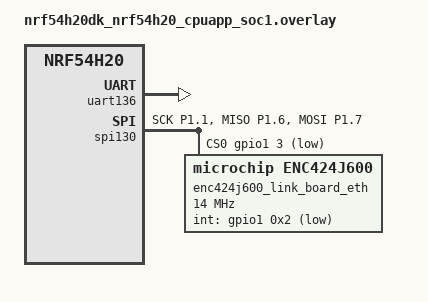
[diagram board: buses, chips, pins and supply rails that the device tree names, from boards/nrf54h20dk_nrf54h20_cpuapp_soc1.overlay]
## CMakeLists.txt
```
#
# Copyright (c) 2023 Nordic Semiconductor ASA
#
# SPDX-License-Identifier: LicenseRef-Nordic-5-Clause
#

cmake_minimum_required(VERSION 3.20.0)

if (BACKBONE_WIFI)
	set(EXTRA_CONF_FILE "configuration/nrf7002eb.conf")
	set(EXTRA_DTC_OVERLAY_FILE "configuration/nrf7002eb.overlay")
endif()

find_package(Zephyr REQUIRED HINTS $ENV{ZEPHYR_BASE})
project(thread_border_router)

set(OPENTHREAD_DIR ${PROJECT_SOURCE_DIR}/../../../modules/lib/openthread)

target_include_directories(app PRIVATE
	src
	${ZEPHYR_BASE}/subsys/net/ip
	${OPENTHREAD_DIR}/src/core
)

# These configurations are required in order to inject our own implementation of
# OpenThread's API function `otIp6Send()`
zephyr_ld_options("-Wl,--wrap=otIp6Send")
set (CMAKE_CXX_FLAGS
	"-DOPENTHREAD_PROJECT_CORE_CONFIG_FILE=\\\"openthread-core-zephyr-config.h\\\""
	${CMAKE_CXX_FLAGS})

add_subdirectory(src/net)

target_sources(app PRIVATE
	src/border_agent.c
	src/main.c
	src/mdns_publisher.c
	src/tbr.c
	src/shell.c
	src/api_extensions/ip6_ext.cpp
	src/backbone/mcast_routing.c
	src/backbone/backbone_agent.c
	src/backbone/nd_proxy.c
	src/platform/infra_if.c
	src/platform/udp.c
	src/utils/utils.c
)
```

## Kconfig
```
#
# Copyright (c) 2023 Nordic Semiconductor
#
# SPDX-License-Identifier: LicenseRef-Nordic-5-Clause
#

DT_COMPAT_NORDIC_NRF700X_SPI := nordic,nrf700x-spi

menuconfig NRF_TBR
    bool "nRF Thread Border Router"
    imply NEWLIB_LIBC_NANO
    imply ENTROPY_GENERATOR
    imply NETWORKING
    imply NET_IPV6
    imply NET_IPV4
    imply NET_UDP
    imply NET_TCP
    imply NET_IPV6_NBR_CACHE
    imply NET_IPV6_DAD
    imply NET_ROUTING
    imply NET_DHCPV4
    imply NET_DHCPV6
    imply NET_SOCKETS
    imply NET_IPV6_MLD
    imply NET_IPV6_ND
    imply NET_IPV6_NBR_CACHE
    imply DNS_SD
    imply NET_IPV4_IGMP
    imply NET_PKT_FILTER # This should be removed after next upmerge
    imply NET_PKT_FILTER_IPV6_HOOK # This should be removed after next upmerge

menu "nRF Thread Border Router"

if NRF_TBR

config NRF_TBR_MDNS_PUBLISHER_RECORDS
    int "mDNS records"
    default 8
    help
      Number of mDNS records that can be allocated in runtime

config NRF_TBR_NRF_TBR_MDNS_PUBLISHER_MAX_TXT_LEN
    int "Max TXT record length"
    default 256
    help
      Maximum length of TXT record

config NRF_TBR_PRODUCT_NAME
    string "Product"
    default "tbr"
    help
      Defines the name of a product advertised by Thread Border Agent

config NRF_TBR_VENDOR_NAME
    string "Vendor"
    default "nordicsemi"
    help
      Defines the name of a vendor advertised by Thread Border Agent

config NRF_TBR_NAT64_PREFIX_DISCOVERY
    bool "Enable NAT64 prefix discovery"
    depends on OPENTHREAD_BORDER_ROUTER && OPENTHREAD_NAT64_BORDER_ROUTING
    help
      Enable NAT64 prefix discovery for nRF TBR

config NRF_TBR_MAX_UDP_DGRAM_SIZE
    int "UDP datagrams size limit"
    default 1280
    help
      Maximum size of UDP datagrams that can be sent using OpenThread's API

config NRF_TBR_ND_PROXY_ENTRY_COUNT
    int "ND Proxy table entries"
    default 8
    help
      Maximum number of addresses that can be handled by ND Proxy module

source "${ZEPHYR_BASE}/../nrf/applications/thread_border_router/Kconfig.defaults"

menu "Zephyr Kernel"
source "Kconfig.zephyr"
endmenu

module = NRF_TBR
module-str = nRF TBR
module-dep = LOG
module-help = Enables nRF TBR log messages.
source "${ZEPHYR_BASE}/subsys/logging/Kconfig.template.log_config"

rsource "src/net/Kconfig"

endif #NRF_TBR

endmenu
```

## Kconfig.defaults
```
#
# Copyright (c) 2023 Nordic Semiconductor ASA
#
# SPDX-License-Identifier: LicenseRef-Nordic-5-Clause
#

config NEWLIB_LIBC_NANO
    default n

config NET_L2_OPENTHREAD
    default y

config IEEE802154_NRF5_RX_STACK_SIZE
    default 1024

config NET_L2_ETHERNET
    default y

config OPENTHREAD_BORDER_ROUTER
    default y

config DNS_RESOLVER
    default n

config INIT_STACKS
    default y

config MAIN_STACK_SIZE
    default 4096

config SYSTEM_WORKQUEUE_STACK_SIZE
    default 2560

config DEVICE_SHELL
    default n

config DATE_SHELL
    default n

config GPIO_SHELL
    default n

config OPENTHREAD_BORDER_ROUTING
    default y

config OPENTHREAD_BACKBONE_ROUTER_MULTICAST_ROUTING
    default y

config OPENTHREAD_NETDATA_PUBLISHER
    default y

config OPENTHREAD_BORDER_AGENT
    default y

config OPENTHREAD_SLAAC
    default y

config OPENTHREAD_BACKBONE_ROUTER
    default y

config OPENTHREAD_ENABLE_SERVICE
    default y

config OPENTHREAD_BORDER_ROUTING_COUNTERS
    default y

config OPENTHREAD_DNS_CLIENT
    default y

config OPENTHREAD_MLR
    default y

config OPENTHREAD_PLATFORM_UDP
    default y

config OPENTHREAD_MESSAGE_BUFFER_SIZE
    default 256

config OPENTHREAD_DUA
    default y

config OPENTHREAD_BACKBONE_ROUTER_DUA_NDPROXYING
    default y

config OPENTHREAD_NAT64_TRANSLATOR
    default y

config OPENTHREAD_NAT64_BORDER_ROUTING
    default y

config OPENTHREAD_TCP_ENABLE
    default y

config OPENTHREAD_COAP
    default y

config OPENTHREAD_COAPS
    default y

config OPENTHREAD_COMMISSIONER
    default y

config OPENTHREAD_DIAG
    default y

config OPENTHREAD_DHCP6_SERVER
    default y

config OPENTHREAD_DHCP6_CLIENT
    default y

config OPENTHREAD_ECDSA
    default y

config OPENTHREAD_IP6_FRAGM
    default y

config OPENTHREAD_JAM_DETECTION
    default y

config OPENTHREAD_JOINER
    default y

config OPENTHREAD_RAW
    default y

config OPENTHREAD_MAC_FILTER
    default y

config OPENTHREAD_NETDIAG_CLIENT
    default y

config OPENTHREAD_ENABLE_SERVICE
    default y

config OPENTHREAD_SNTP_CLIENT
    default y

config OPENTHREAD_SRP_CLIENT
    default y

config OPENTHREAD_LINK_METRICS_INITIATOR
    default y

config OPENTHREAD_LINK_METRICS_SUBJECT
    default y

config OPENTHREAD_EXTERNAL_HEAP
    default y

config NRF_TBR_NAT64_PREFIX_DISCOVERY
    default y

config NRF_TBR_ROUTE_IPV4
    default y

config NRF_TBR_NAT
    default y

config NET_IPV4_IGMP
    default n

config NRF7002_ON_SPI
    def_bool $(dt_compat_enabled,$(DT_COMPAT_NORDIC_NRF700X_SPI))
    depends on WIFI_NRF700X

config NRF_WIFI_LOW_POWER
    default n
```

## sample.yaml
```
sample:
  name: nRF Thread Border Router
  description: nRF Thread Border Router application
tests:
  applications.thread_border_router.debug:
    build_only: true
    integration_platforms:
      - nrf54h20dk_nrf54h20_cpuapp@soc1
    platform_allow: nrf54h20dk_nrf54h20_cpuapp@soc1
    tags: nRF_TBR TBR_app
  applications.thread_border_router.release:
    build_only: true
    extra_args: CONF_FILE=prj_release.conf
    integration_platforms:
      - nrf54h20dk_nrf54h20_cpuapp@soc1
    platform_allow: nrf54h20dk_nrf54h20_cpuapp@soc1
    tags: nRF_TBR TBR_app
  applications.thread_border_router.release.wifi:
    build_only: true
    extra_args: CONF_FILE=prj_release.conf BACKBONE_WIFI=1
    integration_platforms:
      - nrf54h20dk_nrf54h20_cpuapp@soc1
    platform_allow: nrf54h20dk_nrf54h20_cpuapp@soc1
    tags: nRF_TBR TBR_app TBR_app_wifi
  applications.thread_border_router.debug.wifi:
    build_only: true
    extra_args: BACKBONE_WIFI=1
    integration_platforms:
      - nrf54h20dk_nrf54h20_cpuapp@soc1
    platform_allow: nrf54h20dk_nrf54h20_cpuapp@soc1
    tags: nRF_TBR TBR_app TBR_app_wifi
  applications.thread_border_router.release.wifi.static_cred:
    build_only: true
    extra_args: CONF_FILE=prj_release.conf OVERLAY_CONFIG=overlay-static_credentials.conf BACKBONE_WIFI=1
    integration_platforms:
      - nrf54h20dk_nrf54h20_cpuapp@soc1
    platform_allow: nrf54h20dk_nrf54h20_cpuapp@soc1
    tags: nRF_TBR TBR_app TBR_app_wifi static_credentials
  applications.thread_border_router.debug.wifi.static_cred:
    build_only: true
    extra_args: OVERLAY_CONFIG=overlay-static_credentials.conf BACKBONE_WIFI=1
    integration_platforms:
      - nrf54h20dk_nrf54h20_cpuapp@soc1
    platform_allow: nrf54h20dk_nrf54h20_cpuapp@soc1
    tags: nRF_TBR TBR_app TBR_app_wifi static_credentials
```

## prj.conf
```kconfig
#
# Copyright (c) 2023 Nordic Semiconductor ASA
#
# SPDX-License-Identifier: LicenseRef-Nordic-5-Clause
#

CONFIG_NRF_TBR=y

# System settings
CONFIG_FPU=n

# Networking
CONFIG_NET_CONFIG_SETTINGS=y
CONFIG_NET_CONFIG_MY_IPV4_ADDR="192.0.2.1"
CONFIG_NET_CONFIG_MY_IPV6_ADDR="2001:db8::1"
CONFIG_NET_CONFIG_PEER_IPV6_ADDR="2001:db8::2"
CONFIG_NET_IF_MAX_IPV4_COUNT=4
CONFIG_NET_IF_MCAST_IPV4_ADDR_COUNT=4
CONFIG_NET_IF_MAX_IPV6_COUNT=16
CONFIG_NET_IF_IPV6_PREFIX_COUNT=6
CONFIG_NET_IF_UNICAST_IPV6_ADDR_COUNT=7
CONFIG_NET_IF_MCAST_IPV6_ADDR_COUNT=16
CONFIG_NET_MGMT_EVENT_QUEUE_SIZE=16
CONFIG_NET_DEFAULT_IF_ETHERNET=y
CONFIG_NET_MGMT_EVENT_INFO=y
CONFIG_NET_CONFIG_AUTO_INIT=n
CONFIG_NET_ROUTE_MCAST=y
CONFIG_NET_MAX_MCAST_ROUTES=8
CONFIG_NET_MAX_CONTEXTS=10

# Memories
CONFIG_NET_TX_STACK_SIZE=4096
CONFIG_NET_RX_STACK_SIZE=4096

# Debugging
CONFIG_DEBUG=y
CONFIG_STACK_SENTINEL=y
CONFIG_DEBUG_COREDUMP=y
CONFIG_DEBUG_COREDUMP_BACKEND_LOGGING=y
CONFIG_DEBUG_COREDUMP_MEMORY_DUMP_MIN=y

# Enable asserts
CONFIG_ASSERT=y
CONFIG_ASSERT_NO_COND_INFO=y
CONFIG_ASSERT_NO_FILE_INFO=y

# Logging
CONFIG_LOG=y
CONFIG_NET_LOG=y
CONFIG_LOG_BUFFER_SIZE=4048
CONFIG_LOG_MODE_MINIMAL=n
CONFIG_LOG_MODE_DEFERRED=y
CONFIG_OPENTHREAD_L2_LOG_LEVEL_DBG=y
CONFIG_NRF_TBR_LOG_LEVEL_DBG=y
CONFIG_DNS_SD_LOG_LEVEL_ERR=y # DNS-SD provides a lot false positive warnings

# Shells
CONFIG_SHELL=y
CONFIG_NET_SHELL=y
CONFIG_OPENTHREAD_SHELL=y
CONFIG_SHELL_CMDS_RESIZE=n
CONFIG_SHELL_TAB_AUTOCOMPLETION=n

CONFIG_SIZE_OPTIMIZATIONS=y
```

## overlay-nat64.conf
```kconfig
#
# Copyright (c) 2023 Nordic Semiconductor ASA
#
# SPDX-License-Identifier: LicenseRef-Nordic-5-Clause
#

CONFIG_NRF_TBR_ROUTE_IPV4=y
CONFIG_OPENTHREAD_NAT64_TRANSLATOR=y
CONFIG_OPENTHREAD_NAT64_BORDER_ROUTING=y
CONFIG_NRF_TBR_NAT=y

# Enable TCP
CONFIG_OPENTHREAD_TCP_ENABLE=y
CONFIG_NET_TCP=y

CONFIG_NRF_TBR_NAT_LOG_LEVEL_DBG=y
```

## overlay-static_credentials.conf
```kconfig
#
# Copyright (c) 2023 Nordic Semiconductor ASA
#
# SPDX-License-Identifier: LicenseRef-Nordic-5-Clause
#

CONFIG_WIFI_CREDENTIALS_BACKEND_SETTINGS=n
CONFIG_WIFI_CREDENTIALS_SHELL=n
CONFIG_WIFI_CREDENTIALS_SHELL_AUTOCONNECT=n

# Static WiFi credential configuration
CONFIG_WIFI_CREDENTIALS_STATIC=y
CONFIG_WIFI_CREDENTIALS_STATIC_SSID="<ssid>"
CONFIG_WIFI_CREDENTIALS_STATIC_PASSWORD="<password>"
```

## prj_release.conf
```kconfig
#
# Copyright (c) 2023 Nordic Semiconductor ASA
#
# SPDX-License-Identifier: LicenseRef-Nordic-5-Clause
#

CONFIG_NRF_TBR=y

# System settings
CONFIG_FPU=n

# Networking
CONFIG_NET_CONFIG_SETTINGS=y
CONFIG_NET_CONFIG_MY_IPV4_ADDR="192.0.2.1"
CONFIG_NET_CONFIG_MY_IPV6_ADDR="2001:db8::1"
CONFIG_NET_CONFIG_PEER_IPV6_ADDR="2001:db8::2"
CONFIG_NET_IF_MAX_IPV4_COUNT=4
CONFIG_NET_IF_MCAST_IPV4_ADDR_COUNT=0
CONFIG_NET_IF_MAX_IPV6_COUNT=16
CONFIG_NET_IF_IPV6_PREFIX_COUNT=6
CONFIG_NET_IF_UNICAST_IPV6_ADDR_COUNT=7
CONFIG_NET_IF_MCAST_IPV6_ADDR_COUNT=16
CONFIG_NET_MGMT_EVENT_QUEUE_SIZE=16
CONFIG_NET_DEFAULT_IF_ETHERNET=y
CONFIG_NET_MGMT_EVENT_INFO=y
CONFIG_NET_CONFIG_AUTO_INIT=n
CONFIG_NET_ROUTE_MCAST=y
CONFIG_NET_MAX_MCAST_ROUTES=8
CONFIG_NET_MAX_CONTEXTS=10

# Memories
CONFIG_NET_TX_STACK_SIZE=4096
CONFIG_NET_RX_STACK_SIZE=4096
# WiFi only
CONFIG_NET_TC_TX_COUNT=1

# Debugging
CONFIG_DEBUG=n

# Enable asserts
CONFIG_ASSERT=y
CONFIG_ASSERT_VERBOSE=n
CONFIG_ASSERT_NO_COND_INFO=y
CONFIG_ASSERT_NO_FILE_INFO=y

# Logging
CONFIG_LOG=n

# Shells
CONFIG_SHELL=y
CONFIG_SHELL_MINIMAL=y
CONFIG_OPENTHREAD_SHELL=y
CONFIG_SHELL_CMDS_RESIZE=n
CONFIG_SHELL_TAB_AUTOCOMPLETION=n
```

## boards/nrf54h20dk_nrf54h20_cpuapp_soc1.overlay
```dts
/*
 * Copyright (c) 2023 Nordic Semiconductor ASA
 *
 * SPDX-License-Identifier: LicenseRef-Nordic-5-Clause
 */
#include <zephyr/dt-bindings/ipc_service/static_vrings.h>
#include <arm/nordic_nrf_next/overlays/serial_cpuapp.overlay>

/{
	chosen {
		zephyr,console = &uart136;
		zephyr,shell-uart = &uart136;
	};
};

/delete-node/ &ppr_code_partition;

&mram0 {
    reg = <0xe0a6000 DT_SIZE_K(1092)>;
    partitions {
        compatible = "fixed-partitions";
        #address-cells = < 0x1 >;
        #size-cells = < 0x1 >;
        slot0_partition: partition@a6000 {
            label = "image-0";
            reg = < 0xa6000 DT_SIZE_K(1092) >;
        };
    };
};

&cpuapp_ram0x_s {
	reg = < 0x0 DT_SIZE_K(512) >;
	ranges = < 0x0 0x0 DT_SIZE_K(512) >;
};

/* Remove the dfu_partition */
/delete-node/ &mram1;
&mram_controller {
	mram1: mram@e1df000 {
		compatible = "nordic,allocatable-mram", "soc-nv-flash";
		reg = <0xe1df000 DT_SIZE_K(24)>;
		erase-block-size = <4096>;
		write-block-size = <1>;
		perm-read;
		perm-write;
		partitions {
			compatible = "fixed-partitions";
			#address-cells = <1>;
			#size-cells = <1>;
			storage_partition: partition@1df000 {
				label = "storage";
				reg = <0x1df000 DT_SIZE_K(24)>;
			};
		};
	};
};

/* ram3x_cpuapp buffer is used by App core UART driver. */
&ram3x_cpuapp {
	status = "okay";
};

&cpuapp_sram0x {
	reg = <0x1000 DT_SIZE_K(512)>;
};

&uart136 {
	status = "okay";
	memory-regions = <&ram3x_cpuapp>;
};

&pinctrl {
	spi130_default: spi130_default {
		group1 {
			psels = <NRF_PSEL(SPIM_SCK, 1, 1)>,
			        <NRF_PSEL(SPIM_MISO, 1, 6)>,
			        <NRF_PSEL(SPIM_MOSI, 1, 7)>;
		};
	};

	spi130_sleep: spi130_sleep {
		group1 {
			psels = <NRF_PSEL(SPIM_SCK, 1, 1)>,
			        <NRF_PSEL(SPIM_MISO, 1, 6)>,
			        <NRF_PSEL(SPIM_MOSI, 1, 7)>;
			low-power-enable;
		};
	};
};

&spi130 {
	cs-gpios = <&gpio1 3 GPIO_ACTIVE_LOW>;
	status = "okay";
	pinctrl-0 = <&spi130_default>;
	pinctrl-1 = <&spi130_sleep>;
	pinctrl-names = "default", "sleep";
	memory-regions = <&ram3x_cpuapp>;

	enc424j600_link_board_eth: enc424j600@0 {
		compatible = "microchip,enc424j600";
		spi-max-frequency = < 0xd59f80 >;
		int-gpios = < &gpio1 0x2 0x1 >;
		status = "okay";
		reg = < 0x0 >;
	};
};

&gpio1 {
	status = "okay";
};

ipc0: &ipc_cpurad {};
```

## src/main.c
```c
/*
 * Copyright (c) 2023 Nordic Semiconductor ASA
 *
 * SPDX-License-Identifier: LicenseRef-Nordic-5-Clause
 */

/** @file
 * @brief nRF Thread Border Router's main function
 */

#include "border_agent.h"
#include "tbr.h"
#include "backbone/backbone_agent.h"
#include "platform/infra_if.h"
#include "net/mdns_server.h"

#include <ipv6.h>

#include <openthread/border_routing.h>
#include <openthread/backbone_router_ftd.h>
#include <openthread/thread.h>
#include <openthread/platform/infra_if.h>

#include <zephyr/sys/printk.h>
#include <zephyr/device.h>
#include <zephyr/net/net_config.h>
#include <zephyr/net/net_pkt_filter.h>
#include <zephyr/net/openthread.h>

#if defined(CONFIG_WIFI_NRF700X)
#include <zephyr/net/wifi_mgmt.h>
#include <net/wifi_mgmt_ext.h>
#endif /* CONFIG_WIFI_NRF700X */

LOG_MODULE_REGISTER(nrf_tbr, CONFIG_NRF_TBR_LOG_LEVEL);

#define WIFI_MGMT_EVENTS (NET_EVENT_WIFI_CONNECT_RESULT)

#define MAC_IPV6_MCAST_BYTE0 0x33
#define MAC_IPV6_MCAST_BYTE1 0x33

K_SEM_DEFINE(ll_addr_wait, 0, 1);
K_SEM_DEFINE(run_app, 0, 1);

static struct net_mgmt_event_callback net_event_cb;
static struct tbr_context *context;

#if defined(CONFIG_WIFI_NRF700X)
static struct net_mgmt_event_callback wifi_mgmt_cb;

struct ipv6_input_test {
	struct npf_test test;
};

static bool filter_mcast_loopback(struct npf_test *test, struct net_pkt *pkt);

struct ipv6_input_test mcast_loopback_test = {
	.test.fn = filter_mcast_loopback,
};

static NPF_RULE(filter_mcast_loopback_rule, NET_OK, mcast_loopback_test);

static inline bool is_mac_addr_ipv6_mcast(struct net_eth_addr *address)
{
	return address->addr[0] == MAC_IPV6_MCAST_BYTE0 && address->addr[1] == MAC_IPV6_MCAST_BYTE1;
}

static void handle_wifi_connect_result(struct net_mgmt_event_callback *cb)
{
	const struct wifi_status *status =
		(const struct wifi_status *) cb->info;

	if (status->status) {
		LOG_ERR("Backbone link connection request failed (%d)", status->status);
	} else {
		LOG_INF("Backbone link connected");
		k_sem_give(&run_app);
	}
}

static void wifi_mgmt_event_handler(struct net_mgmt_event_callback *cb,
				    uint32_t mgmt_event, struct net_if *iface)
{
	ARG_UNUSED(iface);

	switch (mgmt_event) {
	case NET_EVENT_WIFI_CONNECT_RESULT:
		handle_wifi_connect_result(cb);
		break;
	default:
		break;
	}
}

static bool filter_mcast_loopback(struct npf_test *test, struct net_pkt *pkt)
{
	ARG_UNUSED(test);

	struct net_eth_hdr *hdr;
	struct net_linkaddr *backbone_mac_addr;

	if (!context->backbone_iface || pkt->iface != context->backbone_iface) {
		return true;
	}

	hdr = NET_ETH_HDR(pkt);
	if (!hdr) {
		LOG_WRN("Multicast loopback filter - failed to read the header");
		return false;
	}

	backbone_mac_addr = net_if_get_link_addr(context->backbone_iface);

	/* Eliminate a multicast loop by filtering out frames with a source MAC addresses
	 * within IPv6 multicast range sent back by the backbone interface (with its
	 * source address).
	 */
	return !is_mac_addr_ipv6_mcast(&hdr->dst) || memcmp(backbone_mac_addr->addr, &hdr->src,
							    sizeof(hdr->src));
}

#endif /* defined(CONFIG_WIFI_NRF700X) */

static void net_ev_cb_handler(struct net_mgmt_event_callback *cb,
			      uint32_t mgmt_event, struct net_if *iface)
{
	if (context->backbone_iface == iface) {
		struct in6_addr *addr = net_if_ipv6_get_ll(iface, NET_ADDR_PREFERRED);

		if (addr) {
			LOG_DBG("IPv6 Link-Local address ready");
			context->ll_addr = addr;
			k_sem_give(&ll_addr_wait);
		}
	}
}

static bool join_all_routers_group(struct net_if *iface)
{
	struct in6_addr all_routers_addr;
	int ret;

	k_sem_take(&ll_addr_wait, K_FOREVER);
	net_mgmt_del_event_callback(&net_event_cb);

	net_ipv6_addr_create_ll_allrouters_mcast(&all_routers_addr);

	ret = net_ipv6_mld_join(iface, &all_routers_addr);
	if (ret < 0 && ret != -EALREADY) {
		LOG_ERR("Cannot join all-routers group (%d)", ret);
		return false;
	}

	return true;
}

static int init_backbone_iface(void)
{
	const struct device *backbone_device;

#if defined(CONFIG_WIFI_NRF700X)

	/* Wait for WiFi connection */
	net_mgmt_init_event_callback(&wifi_mgmt_cb,
				     wifi_mgmt_event_handler,
				     WIFI_MGMT_EVENTS);
	net_mgmt_add_event_callback(&wifi_mgmt_cb);

	npf_insert_recv_rule(&filter_mcast_loopback_rule);

	backbone_device = device_get_binding("wlan0");

#else
	backbone_device = DEVICE_DT_GET(DT_NODELABEL(enc424j600_link_board_eth));
	k_sem_give(&run_app);
#endif

	if (!device_is_ready(backbone_device)) {
		LOG_ERR("Backbone device not ready.");
		return EXIT_FAILURE;
	}

	LOG_INF("Backbone link device: %s", backbone_device->name);
	context->backbone_iface = net_if_lookup_by_dev(backbone_device);

	if (!context->backbone_iface) {
		LOG_ERR("No backbone interface");
		return EXIT_FAILURE;
	}

	net_config_init_app(net_if_get_device(context->backbone_iface),
			    "Initializing backbone interface");

	return EXIT_SUCCESS;
}

static int init_application(void)
{
#ifdef CLOCK_FEATURE_HFCLK_DIVIDE_PRESENT
	/* For now hardcode to 128MHz */
	nrfx_clock_divider_set(NRF_CLOCK_DOMAIN_HFCLK,
			       NRF_CLOCK_HFCLK_DIV_1);
#endif

	context = tbr_get_context();
	context->ll_addr = NULL;
	context->ot = openthread_get_default_context();

	infra_if_init();
	mdns_server_init();
	backbone_agent_init();

	net_mgmt_init_event_callback(&net_event_cb,
				     net_ev_cb_handler,
				     NET_EVENT_IPV6_DAD_SUCCEED);
	net_mgmt_add_event_callback(&net_event_cb);

	return init_backbone_iface();
}

static void routing_set_enabled(struct otInstance *instance, bool enabled)
{
	NET_DBG("%s border routing", enabled ? "Enabling" : "Disabling");
	otBorderRoutingSetEnabled(instance, enabled);

	NET_DBG("%sbackbone router", enabled ? "Enabling" : "Disabling");
	otBackboneRouterSetEnabled(instance, enabled);
}

static void handle_role_change(struct otInstance *instance, otChangedFlags flags)
{
	switch (otThreadGetDeviceRole(instance)) {
	case OT_DEVICE_ROLE_CHILD:
	case OT_DEVICE_ROLE_ROUTER:
	case OT_DEVICE_ROLE_LEADER:
		if (otBorderRoutingGetState(instance) ==
		    OT_BORDER_ROUTING_STATE_UNINITIALIZED) {
			otBorderRoutingInit(instance,
					    net_if_get_by_iface(context->backbone_iface),
					    context->ll_addr != NULL);
		}
		routing_set_enabled(instance, true);
		break;

	case OT_DEVICE_ROLE_DISABLED:
	case OT_DEVICE_ROLE_DETACHED:
	default:
		routing_set_enabled(instance, false);
		break;
	}
}

static void on_thread_state_changed(otChangedFlags flags, struct openthread_context *ot_context,
				    void *user_data)
{
	ARG_UNUSED(user_data);

	if (flags & OT_CHANGED_THREAD_ROLE) {
		handle_role_change(ot_context->instance, flags);
	}
}

static struct openthread_state_changed_cb ot_state_chaged_cb = { .state_changed_cb =
									 on_thread_state_changed };

int main(void)
{
	int err;
	struct mdns_server_listener_config mdns_config = { 0 };

#if defined(CONFIG_WIFI_NRF700X)
	/* Add temporary fix to prevent using Wi-Fi before WPA supplicant is ready. */
	k_sleep(K_SECONDS(1));

	err = net_mgmt(NET_REQUEST_WIFI_CONNECT_STORED, net_if_get_default(), NULL, 0);

	if (err) {
		LOG_ERR("Connecting to Wi-Fi failed. error: %d", err);
	}

#endif /* CONFIG_WIFI_NRF700X */

	k_sem_take(&run_app, K_FOREVER);

	openthread_state_changed_cb_register(context->ot, &ot_state_chaged_cb);

	if (!context->backbone_iface) {
		LOG_ERR("Backbone link interface uninitialized");
		return EXIT_FAILURE;
	}

	if (!join_all_routers_group(context->backbone_iface)) {
		return false;
	}

	/* Router solicitation can be sent before connection is alive, send it
	 * explicitly after link is set up.
	 */
	net_ipv6_send_rs(context->backbone_iface);

	otPlatInfraIfStateChanged(context->ot->instance,
				  net_if_get_by_iface(context->backbone_iface),
				  true);

	mdns_config.iface = context->backbone_iface;
	mdns_config.setup_ipv6 = true;
	mdns_config.setup_ipv4 = true;

	err = mdns_server_listener_start(&mdns_config);

	if (err) {
		LOG_ERR("Failed to start mDNS sever: %d", err);
	}

	border_agent_init();

	return EXIT_SUCCESS;
}

/* As we cannot use NET_CONFIG_AUTO_INIT option (it would pick OpenThread as the
 * main interface. We need to call net_config_init_app() before mdns_responder
 * modules gets initialized.
 */
SYS_INIT(init_application, APPLICATION, CONFIG_APPLICATION_INIT_PRIORITY);
```

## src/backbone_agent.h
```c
/*
 * Copyright (c) 2023 Nordic Semiconductor ASA
 *
 * SPDX-License-Identifier: LicenseRef-Nordic-5-Clause
 */

/** @file
 * @brief nRF Thread Border Router's main function
 */

#define TBR_BACKBONE_AGENT_BBR_PORT 61631
```

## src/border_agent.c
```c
/*
 * Copyright (c) 2023 Nordic Semiconductor ASA
 *
 * SPDX-License-Identifier: LicenseRef-Nordic-5-Clause
 */

/** @file
 * @brief nRF Thread Border Router's main function
 */

#include <string.h>

#include <openthread/border_agent.h>
#include <openthread/border_routing.h>
#include <openthread/backbone_router_ftd.h>
#include <openthread/thread.h>

#include <zephyr/net/net_config.h>
#include <zephyr/net/socket.h>
#include <zephyr/net/openthread.h>
#include <zephyr/sys/byteorder.h>

#include "backbone/backbone_agent.h"
#include "mdns_publisher.h"

LOG_MODULE_DECLARE(nrf_tbr, CONFIG_NRF_TBR_LOG_LEVEL);

#define UPDATE_MESHCOP_FLAGS OT_CHANGED_THREAD_ROLE \
	| OT_CHANGED_THREAD_EXT_PANID		    \
	| OT_CHANGED_THREAD_NETWORK_NAME	    \
	| OT_CHANGED_THREAD_BACKBONE_ROUTER_STATE   \
	| OT_CHANGED_THREAD_NETDATA

#define BA_VENDOR_NAME  CONFIG_NRF_TBR_VENDOR_NAME
#define BA_PRODUCT_NAME CONFIG_NRF_TBR_PRODUCT_NAME
#define BA_SERVICE      "_meshcop"
#define BA_PROTO        "_udp"
#define BA_DOMAIN       "local"
#define BA_DUMMY_PORT   0

#define BA_INSTANCE_NAME BA_VENDOR_NAME "-" BA_PRODUCT_NAME

#define OT_THREAD_VERSION_1_1 2
#define OT_THREAD_VERSION_1_2 3
#define OT_THREAD_VERSION_1_3 4

#define INVALID_FD -1

#define OT_INSTANCE openthread_get_default_instance()

#define TIMESTAMP_TICKS_POS     1
#define TIMESTAMP_SEC_POS       16

/* For ot-br-posix compatibility:
 *   -----------------------------------
 *   | bits  | flag                    |
 *   |---------------------------------|
 *   | 0 - 2 | connection mode         |
 *   | 3 - 4 | thread interface status |
 *   | 5 - 6 | availability            |
 *   |   7   | is BBR active           |
 *   |   8   | is BBR primary          |
 *   -----------------------------------
 */
#define CONNECTION_MODE_POS     0
#define IFACE_STATUS_POS        3
#define AVAILABILITY_POS        5
#define BBR_ACTIVE_POS          7
#define BBR_PRIMARY_POS         8

#define FLAG_SET_CONNECTION_MODE(_f, _m)     (_f |= ((_m & BIT_MASK(3)) << CONNECTION_MODE_POS))
#define FLAG_SET_IFACE_STATUS(_f, _s)        (_f |= ((_s & BIT_MASK(2)) << IFACE_STATUS_POS))
#define FLAG_SET_AVAILABILITY(_f, _a)        (_f |= ((_a & BIT_MASK(2)) << AVAILABILITY_POS))

static int service_fd;
static struct mdns_publisher_rec *service_rec;

typedef int (*value_encoder)(char *, size_t);

enum {
	CONNECTION_MODE_DISABLED        = 0,
	CONNECTION_MODE_PSKC            = 1,
	CONNECTION_MODE_PSKD            = 2,
	CONNECTION_MODE_VENDOR          = 3,
	CONNECTION_MODE_X509            = 4,
};

enum {
	INTERFACE_STATUS_NOT_INITIALIZED        = 0,
	INTERFACE_STATUS_INITIALIZED            = 1,
	INTERFACE_STATUS_ACTIVE                 = 2,
};

enum {
	AVAILABILITY_INFREQUENT = 0,
	AVAILABILITY_HIGH       = 1
};

static void handle_port_update()
{
	static struct sockaddr server_addr;
	char addrstr[INET_ADDRSTRLEN];
	int r;

	net_sin(&server_addr)->sin_family = AF_INET;
	net_sin(&server_addr)->sin_addr.s_addr = INADDR_ANY;
	net_sin(&server_addr)->sin_port = service_rec->port;

	r = socket(server_addr.sa_family, SOCK_DGRAM, IPPROTO_UDP);

	if (r == -1) {
		LOG_DBG("socket() failed (%s)", strerror(errno));
		return;
	}

	service_fd = r;

	r = bind(service_fd, &server_addr, sizeof(server_addr));

	if (r == -1) {
		LOG_DBG("bind() failed (%s)", strerror(errno));
		close(service_fd);
		return;
	}

	service_rec->port = net_sin(&server_addr)->sin_port;

	inet_ntop(server_addr.sa_family, &net_sin(&server_addr)->sin_addr,
		  addrstr, sizeof(addrstr));
	LOG_DBG("bound to [%s]:%u",
		addrstr, ntohs(net_sin(&server_addr)->sin_port));
}

static int encode_value(char *buffer, size_t max, const char *key,
			size_t key_len, const char *value, size_t value_len)
{
	int encoded_bytes = 0;
	uint8_t to_encode = key_len + value_len + 1;

	/* len + key + '=' + value */
	if (to_encode + 1 > max) {
		return -ENOBUFS;
	}

	memcpy(&buffer[encoded_bytes], &to_encode, sizeof(to_encode));
	encoded_bytes += sizeof(to_encode);

	memcpy(&buffer[encoded_bytes], key, key_len);
	encoded_bytes += key_len;

	memcpy(&buffer[encoded_bytes], "=", 1);
	encoded_bytes += 1;

	memcpy(&buffer[encoded_bytes], value, value_len);
	encoded_bytes += value_len;

	return encoded_bytes;
}

static int encode_vendor_name(char *buffer, size_t max)
{
	return encode_value(buffer, max, "vn", sizeof("vn") - 1, BA_VENDOR_NAME,
			    sizeof(BA_VENDOR_NAME) - 1);
}

static int encode_product_name(char *buffer, size_t max)
{
	return encode_value(buffer, max, "mn", sizeof("mn") - 1, BA_PRODUCT_NAME,
			    sizeof(BA_PRODUCT_NAME) - 1);
}

static int encode_network_name(char *buffer, size_t max)
{
	const char *nn = otThreadGetNetworkName(OT_INSTANCE);

	return encode_value(buffer, max, "nn", sizeof("nn") - 1, nn, strlen(nn));
}

static int encode_ext_pan_id(char *buffer, size_t max)
{
	const otExtendedPanId *extPanId = otThreadGetExtendedPanId(OT_INSTANCE);

	return encode_value(buffer, max, "xp", sizeof("xp") - 1, extPanId->m8,
			    sizeof(extPanId->m8));
}

static int encode_thread_version(char *buffer, size_t max)
{
	const char *version = "invalid";

	switch (otThreadGetVersion()) {
	case OT_THREAD_VERSION_1_1:
		version = "1.1.1";
		break;
	case OT_THREAD_VERSION_1_2:
		version = "1.2.0";
		break;
	case OT_THREAD_VERSION_1_3:
		version = "1.3.0";
		break;
	}

	return encode_value(buffer, max, "tv", sizeof("tv") - 1, version,
			    strlen(version));
}

static int encode_ext_address(char *buffer, size_t max)
{
	const otExtAddress *extAddr = otLinkGetExtendedAddress(OT_INSTANCE);

	return encode_value(buffer, max, "xa", sizeof("xa") - 1, extAddr->m8,
			    sizeof(extAddr->m8));
}

static int encode_state(char *buffer, size_t max)
{
	uint32_t flags = 0;
	int if_status;

#if OPENTHREAD_CONFIG_BACKBONE_ROUTER_ENABLE
	otBackboneRouterState bbr_state = otBackboneRouterGetState(OT_INSTANCE);
#endif

	switch (otThreadGetDeviceRole(OT_INSTANCE)) {
	case OT_DEVICE_ROLE_DISABLED:
		if_status = INTERFACE_STATUS_NOT_INITIALIZED;
		break;
	case OT_DEVICE_ROLE_DETACHED:
		if_status = INTERFACE_STATUS_INITIALIZED;
		break;
	default:
		if_status = INTERFACE_STATUS_ACTIVE;
	}

	FLAG_SET_CONNECTION_MODE(flags, CONNECTION_MODE_PSKC);
	FLAG_SET_IFACE_STATUS(flags, if_status);
	FLAG_SET_AVAILABILITY(flags, AVAILABILITY_HIGH);

#if OPENTHREAD_CONFIG_BACKBONE_ROUTER_ENABLE
	flags |= (if_status == INTERFACE_STATUS_ACTIVE &&
		  bbr_state != OT_BACKBONE_ROUTER_STATE_DISABLED) << BBR_ACTIVE_POS;
	flags |= (if_status == INTERFACE_STATUS_ACTIVE &&
		  bbr_state == OT_BACKBONE_ROUTER_STATE_PRIMARY) << BBR_PRIMARY_POS;
#endif

	flags = sys_cpu_to_be32(flags);

	return encode_value(buffer, max, "sb", sizeof("sb") - 1,
			    (const char *)&flags, sizeof(flags));
}

static int encode_active_timestamp(char *buffer, size_t max)
{
	otOperationalDataset dataset;
	uint64_t active_ts;

	if ((otDatasetGetActive(OT_INSTANCE, &dataset)) != OT_ERROR_NONE) {
		return 0;
	}

	/* 64 bits Timestamp fields layout
	 * -----48 bits------//-----15 bits-----//-------1 bit-------//
	 *      Seconds      //      Ticks      //  Authoritative    //
	 */
	active_ts = (dataset.mActiveTimestamp.mSeconds << TIMESTAMP_SEC_POS) |
		    (uint64_t)(dataset.mActiveTimestamp.mTicks << TIMESTAMP_TICKS_POS) |
		    (uint64_t)(dataset.mActiveTimestamp.mAuthoritative);

	active_ts = sys_cpu_to_be64(active_ts);

	return encode_value(buffer, max, "at", sizeof("at") - 1, (char *)&active_ts,
			    sizeof(active_ts));
}

#if OPENTHREAD_CONFIG_BACKBONE_ROUTER_ENABLE
static int encode_bbr_entries(char *buffer, size_t max)
{
	int res;
	int encoded = 0;
	otBackboneRouterConfig config;
	const char *name;
	size_t val_len;
	uint16_t port = htons(BACKBONE_AGENT_BBR_PORT);
	otBackboneRouterState state = otBackboneRouterGetState(OT_INSTANCE);

	if (state != OT_BACKBONE_ROUTER_STATE_DISABLED) {
		otBackboneRouterGetConfig(OT_INSTANCE, &config);

		res = encode_value(buffer, max, "sq", sizeof("sq") - 1,
				   (char *)&config.mSequenceNumber,
				   sizeof(config.mSequenceNumber));
		if (res < 0) {
			return res;
		}

		encoded += res;
		max -= res;

		res = encode_value(buffer, max, "bb", sizeof("bb") - 1,
				   (char *)&port, sizeof(port));

		if (res < 0) {
			return res;
		}

		encoded += res;
		max -= res;
	}

	name = otThreadGetDomainName(OT_INSTANCE);

	val_len = strlen(name);
	val_len = (val_len > 0) ? val_len - 1 : val_len;

	res = encode_value(buffer, max, "dn", sizeof("dn") - 1, name, val_len);

	if (res < 0) {
		return res;
	}

	return encoded + res;
}

#endif

static int encode_omr_entry(char *buffer, size_t max)
{
	otIp6Prefix omrPrefix;
	otRoutePreference preference;
	otError error;
	char prefix[OT_IP6_PREFIX_SIZE + 1];

	error = otBorderRoutingGetFavoredOmrPrefix(OT_INSTANCE, &omrPrefix, &preference);

	if (error != OT_ERROR_NONE) {
		return 0;
	}

	prefix[0] = omrPrefix.mLength;
	memcpy(&prefix[1], omrPrefix.mPrefix.mFields.m8, (omrPrefix.mLength + 7) / 8);

	return encode_value(buffer, max, "omr", sizeof("omr") - 1, prefix, sizeof(prefix));
}

static void update_meshcop_service()
{
	char buff[MDNS_PUBLISHER_TXT_LEN];
	int n = 0;
	int res = 0;
	uint16_t port = BA_DUMMY_PORT;

	if (!service_rec) {
		mdns_publisher_record_alloc(&service_rec);

		if (!service_rec) {
			LOG_ERR("Failed to allocate mDNS record");
			return;
		}
	}

	/* encode elements: */
	value_encoder encoders[] = {
		encode_vendor_name,
		encode_product_name,
		encode_network_name,
		encode_ext_pan_id,
		encode_thread_version,
		encode_ext_address,
		encode_state,
		encode_active_timestamp,
#if OPENTHREAD_CONFIG_BACKBONE_ROUTER_ENABLE
		encode_bbr_entries,
#endif
		encode_omr_entry,
		NULL,
	};

	for (size_t i = 0; encoders[i] != NULL; ++i) {
		res = encoders[i](&buff[n], MDNS_PUBLISHER_TXT_LEN - n);

		if (res < 0) {
			LOG_ERR("Failed to encode TXT record, encoder: %p", &encoders[i]);
			return;
		}

		n += res;
	}

	/* When Thread interface is disabled we keep using dummy port so service
	 * status can be advertised
	 */
	if (otBorderAgentGetState(OT_INSTANCE) != OT_BORDER_AGENT_STATE_STOPPED) {
		port = otBorderAgentGetUdpPort(OT_INSTANCE);
	}

	/* If the port differs we need to bind the new and close the previous
	 * one. The port must be bound or the mDNS responder will drop requests.
	 */
	if (port != service_rec->port || port == 0) {
		handle_port_update();
		port = service_rec->port;
	}

	mdns_publisher_record_update(service_rec, BA_INSTANCE_NAME, BA_SERVICE,
				     BA_PROTO, BA_DOMAIN, buff, n, port);
}

static void on_thread_state_changed(otChangedFlags flags, struct openthread_context *ot_context,
				    void *user_data)
{
	if (flags & (UPDATE_MESHCOP_FLAGS)) {
		update_meshcop_service();
	}
}

static struct openthread_state_changed_cb ot_state_chaged_cb = {
	.state_changed_cb = on_thread_state_changed
};

void border_agent_init(void)
{
	service_fd = INVALID_FD;
	service_rec = NULL;

	mdns_publisher_init();
	update_meshcop_service();
	openthread_state_changed_cb_register(openthread_get_default_context(), &ot_state_chaged_cb);

	LOG_INF("Border Agent initialized");
}
```

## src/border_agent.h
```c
/*
 * Copyright (c) 2023 Nordic Semiconductor ASA
 *
 * SPDX-License-Identifier: LicenseRef-Nordic-5-Clause
 */

/** @file
 * @brief nRF Thread Border Router's main function
 */

void border_agent_init(void);
```

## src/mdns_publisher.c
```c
/*
 * Copyright (c) 2023 Nordic Semiconductor ASA
 *
 * SPDX-License-Identifier: LicenseRef-Nordic-5-Clause
 */

/** @file
 * @brief nRF Thread Border Router's main function
 */

#include <string.h>
#include <zephyr/kernel.h>
#include <zephyr/net/mdns_responder.h>

#include "mdns_publisher.h"

#define RECORDS_NUM CONFIG_NRF_TBR_MDNS_PUBLISHER_RECORDS
#define SET_REC_STR(dst, src) memcpy(dst, src, MIN(strlen(src) + 1, sizeof(dst)))

static struct k_mem_slab dns_sd_rec_content_slab;

static struct dns_sd_rec dns_sd_rec_pool[RECORDS_NUM];
static struct mdns_publisher_rec dns_sd_rec_content[RECORDS_NUM];

void mdns_publisher_init()
{
	k_mem_slab_init(&dns_sd_rec_content_slab, dns_sd_rec_content,
			sizeof(struct mdns_publisher_rec), RECORDS_NUM);

	for (int i = 0; i < RECORDS_NUM; ++i) {
		dns_sd_rec_pool[i].instance = dns_sd_rec_content[i].instance;
		dns_sd_rec_pool[i].service = dns_sd_rec_content[i].service;
		dns_sd_rec_pool[i].proto = dns_sd_rec_content[i].proto;
		dns_sd_rec_pool[i].domain = dns_sd_rec_content[i].domain;
		dns_sd_rec_pool[i].text = dns_sd_rec_content[i].txt;
		dns_sd_rec_pool[i].port = &dns_sd_rec_content[i].port;
		dns_sd_rec_pool[i].text_size = 1; /* mDNS responder requires it */

		dns_sd_rec_content[i].sd_record_ptr = &dns_sd_rec_pool[i];
	}
}

void mdns_publisher_record_update(struct mdns_publisher_rec *record,
				  const char *instance, const char *service,
				  const char *proto, const char *domain,
				  const char *txt, size_t txt_size, uint16_t port)
{
	if (record) {
		SET_REC_STR(record->instance, instance);
		SET_REC_STR(record->service, service);
		SET_REC_STR(record->proto, proto);
		SET_REC_STR(record->domain, domain);

		memcpy(record->txt, txt, txt_size);
		record->sd_record_ptr->text_size = txt_size;

		record->port = port;
	}
}

int mdns_publisher_record_alloc(struct mdns_publisher_rec **record)
{
	return k_mem_slab_alloc(&dns_sd_rec_content_slab, (void **)record, K_NO_WAIT);
}

void mdns_publisher_record_free(struct mdns_publisher_rec **record)
{
	struct dns_sd_rec *sd_rec_ptr;

	if (*record == NULL) {
		return;
	}
	/* keep the mapping to mDNS reponder's record */
	sd_rec_ptr = (*record)->sd_record_ptr;

	memset(*record, 0, sizeof(**record));
	(*record)->sd_record_ptr = sd_rec_ptr;

	k_mem_slab_free(&dns_sd_rec_content_slab, (void **)record);
}
```

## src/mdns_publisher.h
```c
/*
 * Copyright (c) 2023 Nordic Semiconductor ASA
 *
 * SPDX-License-Identifier: LicenseRef-Nordic-5-Clause
 */

/** @file
 * @brief nRF Thread Border Router's main function
 */

#include <stdint.h>
#include <zephyr/net/dns_sd.h>

#define MDNS_PUBLISHER_INSTANCE_LEN 64
#define MDNS_PUBLISHER_SERVICE_LEN 16
#define MDNS_PUBLISHER_DOMAIN_LEN 64
#define MDNS_PUBLISHER_PROTO_LEN 5
#define MDNS_PUBLISHER_TXT_LEN CONFIG_NRF_TBR_NRF_TBR_MDNS_PUBLISHER_MAX_TXT_LEN

struct mdns_publisher_rec {
	struct dns_sd_rec *sd_record_ptr;
	uint16_t port;
	char service[MDNS_PUBLISHER_SERVICE_LEN];
	char proto[MDNS_PUBLISHER_PROTO_LEN];
	char instance[MDNS_PUBLISHER_INSTANCE_LEN];
	char domain[MDNS_PUBLISHER_DOMAIN_LEN];
	char txt[MDNS_PUBLISHER_TXT_LEN];
};

void mdns_publisher_init();

int mdns_publisher_record_alloc(struct mdns_publisher_rec **record);

void mdns_publisher_record_update(struct mdns_publisher_rec *record,
				  const char *instance, const char *service,
				  const char *proto, const char *domain,
				  const char *txt, size_t txt_size, uint16_t port);

void mdns_publisher_record_free(struct mdns_publisher_rec **record);
```

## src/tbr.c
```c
/*
 * Copyright (c) 2023 Nordic Semiconductor ASA
 *
 * SPDX-License-Identifier: LicenseRef-Nordic-5-Clause
 */

/** @file
 * @brief Miscellaneous nRF Thread Border Router related functions
 */

#include "tbr.h"

static struct tbr_context context;

struct tbr_context *tbr_get_context(void)
{
	return &context;
}
```

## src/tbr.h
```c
/*
 * Copyright (c) 2023 Nordic Semiconductor ASA
 *
 * SPDX-License-Identifier: LicenseRef-Nordic-5-Clause
 */

/** @file
 * @brief Miscellaneous nRF Thread Border Router related functions
 */

#ifndef NRF_TBR_INCLUDE_TBR_H_
#define NRF_TBR_INCLUDE_TBR_H_

#include <zephyr/net/openthread.h>

/**
 * @brief nRF TBR's context
 *
 * This structure stores miscellaneous data that is related to TBR - * pointers
 * to interfaces, states, addresses etc. The is a single instance of this structure
 * and its pointer can be retreived by other modules using @ref tbr_get_context()
 */
struct tbr_context {
	struct net_if *backbone_iface;
	struct in6_addr *ll_addr;
	struct openthread_context *ot;
};

/**
 * @brief Get pointer to the singleton instance of @ref tbr_context
 */
struct tbr_context *tbr_get_context(void);

#endif /* NRF_TBR_INCLUDE_TBR_H_ */
```

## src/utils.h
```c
/*
 * Copyright (c) 2023 Nordic Semiconductor ASA
 *
 * SPDX-License-Identifier: LicenseRef-Nordic-5-Clause
 */

/** @file
 * @brief Utility functions for nRF TBR.
 */

#ifndef NRF_TBR_UTILS_H_
#define NRF_TBR_UTILS_H_

#include <zephyr/types.h>

/**
 * @brief Update checksum for changed data.
 *
 * @param sum_in	Old checksum to recompute.
 * @param data_old	Old value.
 * @param data_new	New value.
 * @param len		Number of bytes which have been replaced.
 *
 * @return New checksum.
 */
uint16_t update_chksum(uint16_t sum_in, const uint8_t *data_old,
		       const uint8_t *data_new, size_t len);

#endif /* NRF_TBR_UTILS_H_ */
```
